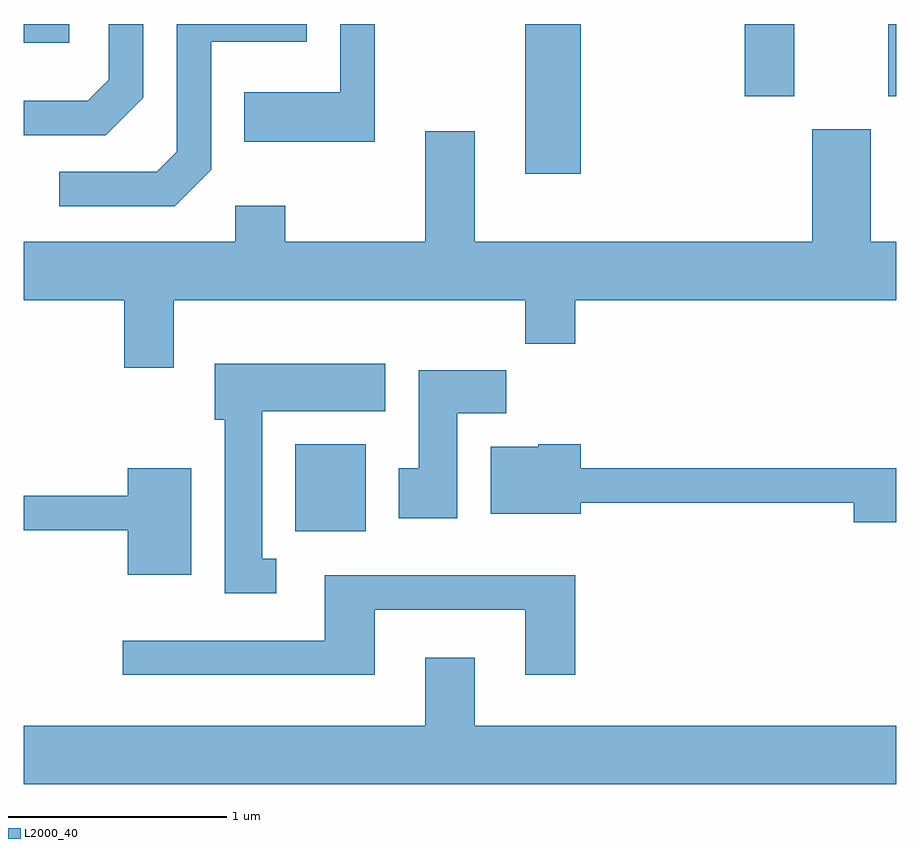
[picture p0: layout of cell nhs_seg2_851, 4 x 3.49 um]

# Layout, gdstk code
import gdstk
lib = gdstk.Library(unit=1e-6, precision=1e-09)
def R(c, l, rs):  # rectangles x0, y0, x1, y1
    for r in rs: c.add(gdstk.rectangle(r[:2], r[2:], *l))
def P(c, l, *ps):  # polygons
    for p in ps: c.add(gdstk.Polygon(p, *l))
L2000_40 = (2000, 40)

nhs_seg2_851 = lib.new_cell('nhs_seg2_851')
R(nhs_seg2_851, L2000_40, [(210.856,1049.476,211.179,1049.874), (211.911,1051.116,212.164,1051.802), (212.916,1051.471,213.144,1051.802), (213.576,1051.471,213.611,1051.802), (209.611,1051.716,209.819,1051.802)])
P(nhs_seg2_851, L2000_40, [(210.469,1051.134),(210.469,1051.721),(210.909,1051.721),(210.909,1051.802),(210.311,1051.802),(210.311,1051.217),(210.219,1051.124),(209.773,1051.124),(209.773,1050.966),(210.302,1050.966)],
  [(210.159,1051.464),(210.159,1051.802),(210.001,1051.802),(210.001,1051.547),(209.904,1051.449),(209.611,1051.449),(209.611,1051.291),(209.987,1051.291)],
  [(211.219,1051.802),(211.061,1051.802),(211.061,1051.489),(210.621,1051.489),(210.621,1051.261),(211.219,1051.261)],
  [(210.299,1050.536),(211.911,1050.536),(211.911,1050.336),(212.139,1050.336),(212.139,1050.536),(213.611,1050.536),(213.611,1050.804),(213.494,1050.804),(213.494,1051.319),(213.226,1051.319),(213.226,1050.804),(211.679,1050.804),(211.679,1051.309),(211.451,1051.309),(211.451,1050.804),(210.809,1050.804),(210.809,1050.969),(210.581,1050.969),(210.581,1050.804),(209.611,1050.804),(209.611,1050.536),(210.071,1050.536),(210.071,1050.226),(210.299,1050.226)],
  [(210.768,1049.349),(210.704,1049.349),(210.704,1050.026),(211.269,1050.026),(211.269,1050.244),(210.486,1050.244),(210.486,1049.986),(210.531,1049.986),(210.531,1049.191),(210.768,1049.191)],
  [(211.599,1050.016),(211.824,1050.016),(211.824,1050.214),(211.421,1050.214),(211.421,1049.764),(211.331,1049.764),(211.331,1049.536),(211.599,1049.536)],
  [(213.611,1049.764),(212.164,1049.764),(212.164,1049.874),(211.97,1049.874),(211.97,1049.864),(211.751,1049.864),(211.751,1049.556),(212.164,1049.556),(212.164,1049.606),(213.416,1049.606),(213.416,1049.516),(213.611,1049.516)],
  [(210.379,1049.764),(210.086,1049.764),(210.086,1049.639),(209.611,1049.639),(209.611,1049.481),(210.086,1049.481),(210.086,1049.276),(210.379,1049.276)],
  [(211.219,1049.116),(211.911,1049.116),(211.911,1048.816),(212.139,1048.816),(212.139,1049.274),(210.991,1049.274),(210.991,1048.974),(210.063,1048.974),(210.063,1048.816),(211.219,1048.816)],
  [(213.611,1048.584),(211.679,1048.584),(211.679,1048.894),(211.451,1048.894),(211.451,1048.584),(209.611,1048.584),(209.611,1048.316),(213.611,1048.316)])

lib.write_gds('nhs_seg2_851.gds')
